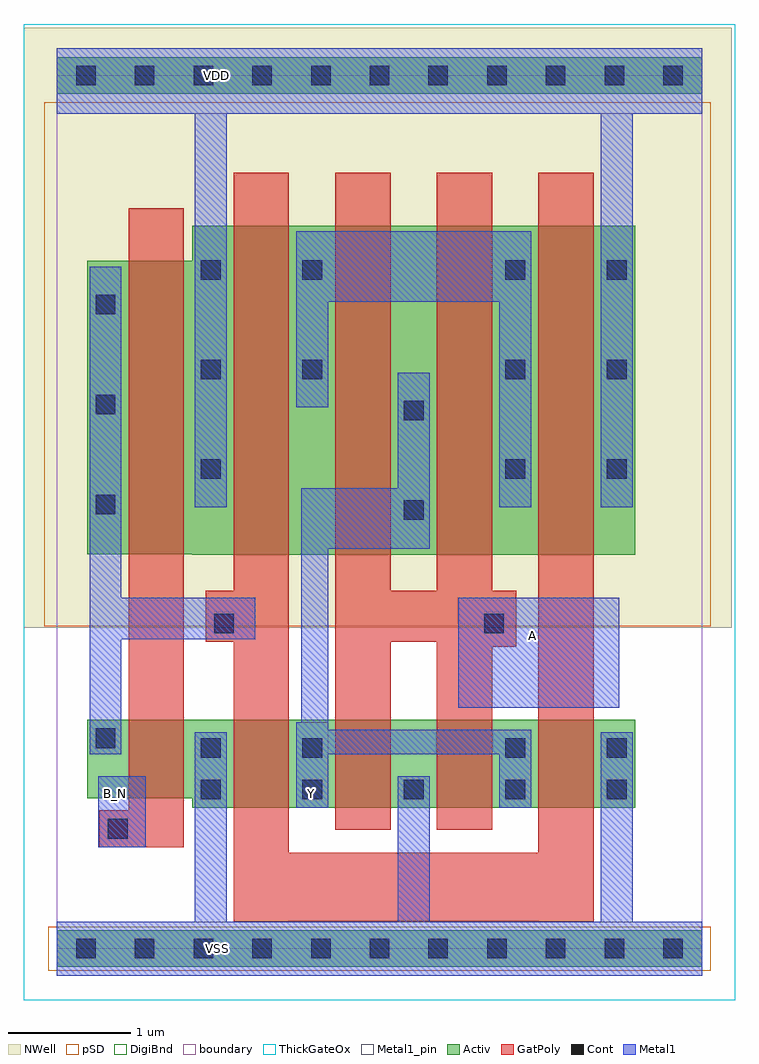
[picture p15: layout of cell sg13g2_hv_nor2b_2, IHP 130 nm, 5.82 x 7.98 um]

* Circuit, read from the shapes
.subckt sg13g2_hv_nor2b_2 A B_N VDD VSS Y
XM1 VSS B_N n1 VSS sg13_hv_nmos w=0.64u l=0.45u
XM2 Y n1 VSS VSS sg13_hv_nmos w=0.72u l=0.45u m=2
XM3 VSS A Y VSS sg13_hv_nmos w=0.72u l=0.45u m=2
XM4 VDD B_N n1 VDD sg13_hv_pmos w=2.4u l=0.45u
XM5 n2 n1 VDD VDD sg13_hv_pmos w=2.69u l=0.45u m=2
XM6 Y A n2 VDD sg13_hv_pmos w=2.69u l=0.45u m=2
.ends

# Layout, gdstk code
import gdstk
lib = gdstk.Library(unit=1e-6, precision=1e-09)
def R(c, l, rs):  # rectangles x0, y0, x1, y1
    for r in rs: c.add(gdstk.rectangle(r[:2], r[2:], *l))
def A(c, l, x, y, w, h, nx, ny, dx, dy):  # array of equal rectangles
    R(c, l, [(x+i*dx, y+j*dy, x+i*dx+w, y+j*dy+h) for i in range(nx) for j in range(ny)])
def P(c, l, *ps):  # polygons
    for p in ps: c.add(gdstk.Polygon(p, *l))
Activ = (1, 0)
GatPoly = (5, 0)
Cont = (6, 0)
Metal1 = (8, 0)
Metal1_pin = (8, 2)
pSD = (14, 0)
DigiBnd = (16, 0)
NWell = (31, 0)
ThickGateOx = (44, 0)
boundary = (189, 4)

sg13g2_hv_nor2b_2 = lib.new_cell('sg13g2_hv_nor2b_2')
R(sg13g2_hv_nor2b_2, Activ, [(0,-0.15,5.28,0.15), (0,6.99,5.28,7.29)])
P(sg13g2_hv_nor2b_2, Activ, [(1.11,1.15),(1.11,1.23),(0.25,1.23),(0.25,1.87),(4.73,1.87),(4.73,1.15)],
  [(1.11,3.22),(1.11,3.225),(0.25,3.225),(0.25,5.625),(1.11,5.625),(1.11,5.91),(4.73,5.91),(4.73,3.22)])
P(sg13g2_hv_nor2b_2, GatPoly, [(1.45,0.22),(1.45,2.51),(1.22,2.51),(1.22,2.925),(1.45,2.925),(1.45,6.345),(1.9,6.345),(1.9,0.785),(3.94,0.785),(3.94,6.345),(4.39,6.345),(4.39,0.22),(3.94,0.22),(3.94,0.225),(1.9,0.225),(1.9,0.22)],
  [(0.35,0.83),(0.35,1.13),(0.59,1.13),(0.59,6.055),(1.04,6.055),(1.04,0.83)],
  [(2.28,0.97),(2.28,6.345),(2.73,6.345),(2.73,2.925),(3.11,2.925),(3.11,6.345),(3.56,6.345),(3.56,2.925),(3.76,2.925),(3.76,2.47),(3.56,2.47),(3.56,0.97),(3.11,0.97),(3.11,2.51),(2.73,2.51),(2.73,0.97)])
A(sg13g2_hv_nor2b_2, Cont, 0.16, -0.08, 0.16, 0.16, 11, 2, 0.48, 7.14)
A(sg13g2_hv_nor2b_2, Cont, 1.18, 1.22, 0.16, 0.16, 5, 1, 0.83, 0)
A(sg13g2_hv_nor2b_2, Cont, 1.18, 3.84, 0.16, 0.16, 1, 3, 0, 0.815)
A(sg13g2_hv_nor2b_2, Cont, 3.67, 3.84, 0.16, 0.16, 1, 3, 0, 0.815)
A(sg13g2_hv_nor2b_2, Cont, 4.5, 3.84, 0.16, 0.16, 1, 3, 0, 0.815)
R(sg13g2_hv_nor2b_2, Cont, [(0.42,0.9,0.58,1.06), (1.18,1.56,1.34,1.72), (2.01,1.56,2.17,1.72), (3.67,1.56,3.83,1.72), (4.5,1.56,4.66,1.72), (0.32,1.64,0.48,1.8), (1.29,2.58,1.45,2.74), (3.495,2.58,3.655,2.74), (2.84,3.505,3,3.665), (0.32,3.55,0.48,3.71), (2.84,4.32,3,4.48), (0.32,4.37,0.48,4.53), (2.01,4.655,2.17,4.815), (0.32,5.185,0.48,5.345), (2.01,5.47,2.17,5.63)])
R(sg13g2_hv_nor2b_2, Metal1, [(0.34,0.83,0.73,1.41), (3.285,1.97,4.6,2.87)])
P(sg13g2_hv_nor2b_2, Metal1, [(0,-0.22),(0,0.22),(1.13,0.22),(1.13,1.77),(1.39,1.77),(1.39,0.22),(2.79,0.22),(2.79,1.41),(3.05,1.41),(3.05,0.22),(4.45,0.22),(4.45,1.77),(4.71,1.77),(4.71,0.22),(5.28,0.22),(5.28,-0.22)],
  [(1.13,3.61),(1.13,6.825),(0,6.825),(0,7.36),(5.28,7.36),(5.28,6.825),(4.71,6.825),(4.71,3.61),(4.45,3.61),(4.45,6.825),(1.39,6.825),(1.39,3.61)],
  [(0.27,1.59),(0.27,5.575),(0.53,5.575),(0.53,2.87),(1.625,2.87),(1.625,2.53),(0.53,2.53),(0.53,1.59)],
  [(1.96,1.15),(1.96,1.85),(2,1.85),(2,3.765),(2.79,3.765),(2.79,4.71),(3.05,4.71),(3.05,3.27),(2.22,3.27),(2.22,1.79),(3.88,1.79),(3.88,1.15),(3.62,1.15),(3.62,1.59),(2.22,1.59),(2.22,1.15)],
  [(3.62,3.61),(3.62,5.29),(2.22,5.29),(2.22,4.425),(1.96,4.425),(1.96,5.865),(3.88,5.865),(3.88,3.61)])
R(sg13g2_hv_nor2b_2, Metal1_pin, [(0,-0.22,5.28,0.22), (0.34,0.83,0.73,1.41), (1.96,1.15,2.22,1.85), (3.285,1.97,4.6,2.87), (0,6.825,5.28,7.36)])
R(sg13g2_hv_nor2b_2, pSD, [(-0.07,-0.18,5.35,0.18), (-0.1,2.635,5.35,6.92)])
R(sg13g2_hv_nor2b_2, DigiBnd, [(0,0,5.28,7.14)])
R(sg13g2_hv_nor2b_2, NWell, [(-0.27,2.625,5.52,7.53)])
R(sg13g2_hv_nor2b_2, ThickGateOx, [(-0.27,-0.42,5.55,7.56)])
R(sg13g2_hv_nor2b_2, boundary, [(0,0,5.28,7.14)])
sg13g2_hv_nor2b_2.add(gdstk.Label('A', (3.89,2.56), layer=8, texttype=25))
sg13g2_hv_nor2b_2.add(gdstk.Label('B_N', (0.48,1.27), layer=8, texttype=25))
sg13g2_hv_nor2b_2.add(gdstk.Label('VDD', (1.305,7.14), layer=8, texttype=25))
sg13g2_hv_nor2b_2.add(gdstk.Label('Y', (2.08,1.27), layer=8, texttype=25))
sg13g2_hv_nor2b_2.add(gdstk.Label('VSS', (1.315,0.005), layer=8, texttype=25))

lib.write_gds('sg13g2_hv_nor2b_2.gds')
